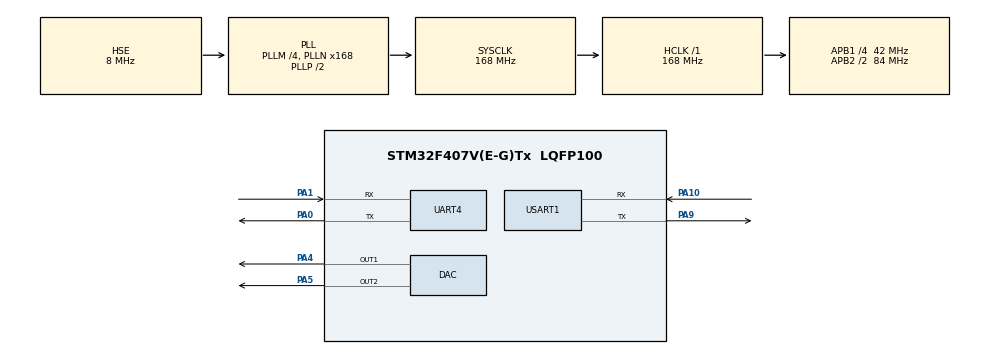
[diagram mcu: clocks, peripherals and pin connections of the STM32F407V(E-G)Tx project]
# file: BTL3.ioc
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DAC.DAC_Trigger=DAC_TRIGGER_T2_TRGO
DAC.DAC_Trigger2=DAC_TRIGGER_T5_TRGO
Dma.DAC1.0.Direction=DMA_MEMORY_TO_PERIPH
Dma.DAC1.0.FIFOMode=DMA_FIFOMODE_DISABLE
Dma.DAC1.0.Instance=DMA1_Stream5
Dma.DAC1.0.MemDataAlignment=DMA_MDATAALIGN_WORD
Dma.DAC1.0.MemInc=DMA_MINC_ENABLE
Dma.DAC1.0.Mode=DMA_CIRCULAR
Dma.DAC1.0.PeriphDataAlignment=DMA_PDATAALIGN_WORD
Dma.DAC1.0.PeriphInc=DMA_PINC_DISABLE
Dma.DAC1.0.Priority=DMA_PRIORITY_LOW
Dma.DAC2.1.Direction=DMA_MEMORY_TO_PERIPH
Dma.DAC2.1.FIFOMode=DMA_FIFOMODE_DISABLE
Dma.DAC2.1.Instance=DMA1_Stream6
Dma.DAC2.1.MemDataAlignment=DMA_MDATAALIGN_WORD
Dma.DAC2.1.MemInc=DMA_MINC_ENABLE
Dma.DAC2.1.Mode=DMA_CIRCULAR
Dma.DAC2.1.PeriphDataAlignment=DMA_PDATAALIGN_WORD
Dma.DAC2.1.PeriphInc=DMA_PINC_DISABLE
Dma.DAC2.1.Priority=DMA_PRIORITY_LOW
Dma.Request0=DAC1
Dma.Request1=DAC2
Dma.Request2=UART4_RX
Dma.Request3=USART1_RX
Dma.UART4_RX.2.Direction=DMA_PERIPH_TO_MEMORY
Dma.UART4_RX.2.FIFOMode=DMA_FIFOMODE_DISABLE
Dma.UART4_RX.2.Instance=DMA1_Stream2
Dma.UART4_RX.2.MemDataAlignment=DMA_MDATAALIGN_BYTE
Dma.UART4_RX.2.MemInc=DMA_MINC_ENABLE
Dma.UART4_RX.2.Mode=DMA_NORMAL
Dma.UART4_RX.2.PeriphDataAlignment=DMA_PDATAALIGN_BYTE
Dma.UART4_RX.2.PeriphInc=DMA_PINC_DISABLE
Dma.UART4_RX.2.Priority=DMA_PRIORITY_HIGH
Dma.USART1_RX.3.Direction=DMA_PERIPH_TO_MEMORY
Dma.USART1_RX.3.FIFOMode=DMA_FIFOMODE_DISABLE
Dma.USART1_RX.3.Instance=DMA2_Stream2
Dma.USART1_RX.3.MemDataAlignment=DMA_MDATAALIGN_BYTE
Dma.USART1_RX.3.MemInc=DMA_MINC_ENABLE
Dma.USART1_RX.3.Mode=DMA_NORMAL
Dma.USART1_RX.3.PeriphDataAlignment=DMA_PDATAALIGN_BYTE
Dma.USART1_RX.3.PeriphInc=DMA_PINC_DISABLE
Dma.USART1_RX.3.Priority=DMA_PRIORITY_LOW
Mcu.Family=STM32F4
Mcu.Name=STM32F407V(E-G)Tx
Mcu.Package=LQFP100
NVIC.DMA1_Stream2_IRQn=true\:0\:0\:false\:false\:true\:false\:true\:true
NVIC.DMA1_Stream5_IRQn=true\:0\:0\:false\:false\:true\:false\:true\:true
NVIC.DMA1_Stream6_IRQn=true\:0\:0\:false\:false\:true\:false\:true\:true
NVIC.DMA2_Stream2_IRQn=true\:0\:0\:false\:false\:true\:false\:true\:true
NVIC.PriorityGroup=NVIC_PRIORITYGROUP_4
NVIC.TIM2_IRQn=true\:0\:0\:false\:false\:true\:true\:true\:true
NVIC.TIM5_IRQn=true\:0\:0\:false\:false\:true\:true\:true\:true
NVIC.UART4_IRQn=true\:0\:0\:false\:false\:true\:true\:true\:true
NVIC.USART1_IRQn=true\:0\:0\:false\:false\:true\:true\:true\:true
PA0-WKUP.Mode=Asynchronous
PA0-WKUP.Signal=UART4_TX
PA1.Mode=Asynchronous
PA1.Signal=UART4_RX
PA10.Mode=Asynchronous
PA10.Signal=USART1_RX
PA13.Mode=Serial_Wire
PA13.Signal=SYS_JTMS-SWDIO
PA14.Mode=Serial_Wire
PA14.Signal=SYS_JTCK-SWCLK
PA4.Signal=COMP_DAC1_group
PA5.Signal=COMP_DAC2_group
PA9.Mode=Asynchronous
PA9.Signal=USART1_TX
PH0-OSC_IN.Mode=HSE-External-Oscillator
PH0-OSC_IN.Signal=RCC_OSC_IN
PH1-OSC_OUT.Mode=HSE-External-Oscillator
PH1-OSC_OUT.Signal=RCC_OSC_OUT
ProjectManager.HeapSize=0x200
ProjectManager.StackSize=0x400
ProjectManager.TargetToolchain=MDK-ARM V5.32
RCC.48MHZClocksFreq_Value=84000000
RCC.AHBFreq_Value=168000000
RCC.APB1CLKDivider=RCC_HCLK_DIV4
RCC.APB1Freq_Value=42000000
RCC.APB1TimFreq_Value=84000000
RCC.APB2CLKDivider=RCC_HCLK_DIV2
RCC.APB2Freq_Value=84000000
RCC.APB2TimFreq_Value=168000000
RCC.CortexFreq_Value=168000000
RCC.HCLKFreq_Value=168000000
RCC.HSE_VALUE=8000000
RCC.HSI_VALUE=16000000
RCC.LSE_VALUE=32768
RCC.PLLM=4
RCC.PLLN=168
RCC.PLLSourceVirtual=RCC_PLLSOURCE_HSE
RCC.SYSCLKFreq_VALUE=168000000
RCC.SYSCLKSource=RCC_SYSCLKSOURCE_PLLCLK
RCC.VCOOutputFreq_Value=336000000
SH.COMP_DAC1_group.0=DAC_OUT1,DAC_OUT1
SH.COMP_DAC2_group.0=DAC_OUT2,DAC_OUT2
TIM2.Period=1000000-1
TIM2.Prescaler=83
TIM2.TIM_MasterOutputTrigger=TIM_TRGO_UPDATE
TIM5.Period=10000-1
TIM5.Prescaler=83
TIM5.TIM_MasterOutputTrigger=TIM_TRGO_UPDATE
UART4.VirtualMode=Asynchronous
USART1.VirtualMode=VM_ASYNC
VP_TIM2_VS_ClockSourceINT.Mode=Internal
VP_TIM5_VS_ClockSourceINT.Mode=Internal
board=custom

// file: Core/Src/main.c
/* USER CODE BEGIN Header */
/**
  ******************************************************************************
  * @file           : main.c
  * @brief          : Main program body
  ******************************************************************************
  * @attention
  *
  * <h2><center>&copy; Copyright (c) 2023 STMicroelectronics.
  * All rights reserved.</center></h2>
  *
  * This software component is licensed by ST under BSD 3-Clause license,
  * the "License"; You may not use this file except in compliance with the
  * License. You may obtain a copy of the License at:
  *                        opensource.org/licenses/BSD-3-Clause
  *
  ******************************************************************************
  */
/* USER CODE END Header */
#include "main.h"

/* USER CODE BEGIN Includes */
#include "math.h"
#include <string.h>
#include <stdio.h>
#include <stdlib.h>
#define PI  3.14159
/* USER CODE END Includes */

DAC_HandleTypeDef hdac;
DMA_HandleTypeDef hdma_dac1;
DMA_HandleTypeDef hdma_dac2;

TIM_HandleTypeDef htim2;
TIM_HandleTypeDef htim5;

UART_HandleTypeDef huart4;
UART_HandleTypeDef huart1;
DMA_HandleTypeDef hdma_uart4_rx;
DMA_HandleTypeDef hdma_usart1_rx;

void SystemClock_Config(void);
static void MX_GPIO_Init(void);
static void MX_DMA_Init(void);
static void MX_DAC_Init(void);
static void MX_TIM2_Init(void);
static void MX_TIM5_Init(void);
static void MX_UART4_Init(void);
static void MX_USART1_UART_Init(void);

/* USER CODE BEGIN 0 */
#define RX_BUFFER_SIZE 60
uint8_t rx_buffer[RX_BUFFER_SIZE];
char rx_data[RX_BUFFER_SIZE];
uint32_t sine_val[100];
uint32_t square_val[100];
uint32_t triangular_val[100];
float a1 = 0, f1 = 0, a2 = 0, f2 = 0;
int alo = 0;

void string_cut(char *input, char *key, float *value)
{
    char *ptr = strstr(input,key);
    if(ptr != NULL)
    {
        ptr += strlen(key);
        *value = atof(ptr);
    }
}

			/*--------------------------------------------------------------------------*/
void Sine(float A, float f)
{
	//f_pulse = f_timTRIGO/ns (ns la so mau)   khi ARR = 0 thi f_pulse = 10k
	__HAL_TIM_SET_AUTORELOAD(&htim2, (10000/f)-1);
	for(int i = 0; i < 100; i++)
	{
		sine_val[i] = ((sin(i*2*PI/100) + 1)*(float)(4095*A/3));
	}
}

			/*--------------------------------------------------------------------------*/
void Square(float A, float f)
{
	__HAL_TIM_SET_AUTORELOAD(&htim2, (10000/f)-1);

	for(int i = 0; i < 100; i++)
	{
		square_val[i] = (i<50) ? 0: 2.0*A*4095/3;
	}
}
			/*--------------------------------------------------------------------------*/

void triangular(float A, float f)
{
	__HAL_TIM_SET_AUTORELOAD(&htim2, (10000/f)-1);

	for(int i = 0; i < 100; i++)
	{
		if(i<50)
			triangular_val[i] = 4095*2*A/3*i/49;
		else
			triangular_val[i] = 4095*2*A/3 - (i-49)*4095*2*A/3/50;
	}
}
			/*--------------------------------------------------------------------------*/
void HAL_UART_RxHalfCpltCallback(UART_HandleTypeDef *huart) //ham nay duoc goi khi da nhan xong du lieu
{
	alo++;
	memset(rx_data,0,sizeof(rx_data));
  for (int i = 0;i<sizeof(rx_buffer);i++)
	{
		rx_data[i] = rx_buffer[i];
	}
		string_cut(rx_data,"a1=",&a1);
	  string_cut(rx_data,"f1=",&f1);
	  string_cut(rx_data,"a2=",&a2);
	  string_cut(rx_data,"f2=",&f2);
	memset(rx_buffer,0,sizeof(rx_buffer));
	HAL_UART_Receive_DMA(&huart4, &rx_buffer[0], RX_BUFFER_SIZE);

	HAL_TIM_Base_Start(&htim2);
	Square(a1, f1);
	HAL_DAC_Start_DMA(&hdac, DAC_CHANNEL_1, square_val, 100, DAC_ALIGN_12B_R);
}

/* USER CODE END 0 */

int main(void)
{

  /* MCU Configuration--------------------------------------------------------*/

  /* Reset of all peripherals, Initializes the Flash interface and the Systick. */
  HAL_Init();

  /* Configure the system clock */
  SystemClock_Config();

  /* Initialize all configured peripherals */
  MX_GPIO_Init();
  MX_DMA_Init();
  MX_DAC_Init();
  MX_TIM2_Init();
  MX_TIM5_Init();
  MX_UART4_Init();
  MX_USART1_UART_Init();
  /* USER CODE BEGIN 2 */
	HAL_UART_Receive_DMA(&huart4, rx_buffer, RX_BUFFER_SIZE);
	//HAL_TIM_Base_Start(&htim2);
	//Sine(A);
	//HAL_DAC_Start_DMA(&hdac, DAC_CHANNEL_1, sine_val, 100, DAC_ALIGN_12B_R);

	HAL_DAC_Start(&hdac, DAC_CHANNEL_1);
	HAL_DAC_Start(&hdac, DAC_CHANNEL_2);

	//HAL_DAC_SetValue(&hdac, DAC_CHANNEL_1, DAC_ALIGN_12B_R, 4095);
  /* USER CODE END 2 */

  /* Infinite loop */
  while (1)
  {

  }
}

void SystemClock_Config(void)
{
  RCC_OscInitTypeDef RCC_OscInitStruct = {0};
  RCC_ClkInitTypeDef RCC_ClkInitStruct = {0};

  /** Configure the main internal regulator output voltage
  */
  __HAL_RCC_PWR_CLK_ENABLE();
  __HAL_PWR_VOLTAGESCALING_CONFIG(PWR_REGULATOR_VOLTAGE_SCALE1);

  /** Initializes the RCC Oscillators according to the specified parameters
  * in the RCC_OscInitTypeDef structure.
  */
  RCC_OscInitStruct.OscillatorType = RCC_OSCILLATORTYPE_HSE;
  RCC_OscInitStruct.HSEState = RCC_HSE_ON;
  RCC_OscInitStruct.PLL.PLLState = RCC_PLL_ON;
  RCC_OscInitStruct.PLL.PLLSource = RCC_PLLSOURCE_HSE;
  RCC_OscInitStruct.PLL.PLLM = 4;
  RCC_OscInitStruct.PLL.PLLN = 168;
  RCC_OscInitStruct.PLL.PLLP = RCC_PLLP_DIV2;
  RCC_OscInitStruct.PLL.PLLQ = 4;
  if (HAL_RCC_OscConfig(&RCC_OscInitStruct) != HAL_OK)
  {
    Error_Handler();
  }

  /** Initializes the CPU, AHB and APB buses clocks
  */
  RCC_ClkInitStruct.ClockType = RCC_CLOCKTYPE_HCLK|RCC_CLOCKTYPE_SYSCLK
                              |RCC_CLOCKTYPE_PCLK1|RCC_CLOCKTYPE_PCLK2;
  RCC_ClkInitStruct.SYSCLKSource = RCC_SYSCLKSOURCE_PLLCLK;
  RCC_ClkInitStruct.AHBCLKDivider = RCC_SYSCLK_DIV1;
  RCC_ClkInitStruct.APB1CLKDivider = RCC_HCLK_DIV4;
  RCC_ClkInitStruct.APB2CLKDivider = RCC_HCLK_DIV2;

  if (HAL_RCC_ClockConfig(&RCC_ClkInitStruct, FLASH_LATENCY_5) != HAL_OK)
  {
    Error_Handler();
  }
}

static void MX_DAC_Init(void)
{

  DAC_ChannelConfTypeDef sConfig = {0};

  /** DAC Initialization
  */
  hdac.Instance = DAC;
  if (HAL_DAC_Init(&hdac) != HAL_OK)
  {
    Error_Handler();
  }

  /** DAC channel OUT1 config
  */
  sConfig.DAC_Trigger = DAC_TRIGGER_T2_TRGO;
  sConfig.DAC_OutputBuffer = DAC_OUTPUTBUFFER_ENABLE;
  if (HAL_DAC_ConfigChannel(&hdac, &sConfig, DAC_CHANNEL_1) != HAL_OK)
  {
    Error_Handler();
  }

  /** DAC channel OUT2 config
  */
  sConfig.DAC_Trigger = DAC_TRIGGER_T5_TRGO;
  if (HAL_DAC_ConfigChannel(&hdac, &sConfig, DAC_CHANNEL_2) != HAL_OK)
  {
    Error_Handler();
  }

}

static void MX_TIM2_Init(void)
{

  TIM_ClockConfigTypeDef sClockSourceConfig = {0};
  TIM_MasterConfigTypeDef sMasterConfig = {0};

  htim2.Instance = TIM2;
  htim2.Init.Prescaler = 83;
  htim2.Init.CounterMode = TIM_COUNTERMODE_UP;
  htim2.Init.Period = 1000000-1;
  htim2.Init.ClockDivision = TIM_CLOCKDIVISION_DIV1;
  htim2.Init.AutoReloadPreload = TIM_AUTORELOAD_PRELOAD_DISABLE;
  if (HAL_TIM_Base_Init(&htim2) != HAL_OK)
  {
    Error_Handler();
  }
  sClockSourceConfig.ClockSource = TIM_CLOCKSOURCE_INTERNAL;
  if (HAL_TIM_ConfigClockSource(&htim2, &sClockSourceConfig) != HAL_OK)
  {
    Error_Handler();
  }
  sMasterConfig.MasterOutputTrigger = TIM_TRGO_UPDATE;
  sMasterConfig.MasterSlaveMode = TIM_MASTERSLAVEMODE_DISABLE;
  if (HAL_TIMEx_MasterConfigSynchronization(&htim2, &sMasterConfig) != HAL_OK)
  {
    Error_Handler();
  }

}

static void MX_TIM5_Init(void)
{

  TIM_ClockConfigTypeDef sClockSourceConfig = {0};
  TIM_MasterConfigTypeDef sMasterConfig = {0};

  htim5.Instance = TIM5;
  htim5.Init.Prescaler = 83;
  htim5.Init.CounterMode = TIM_COUNTERMODE_UP;
  htim5.Init.Period = 10000-1;
  htim5.Init.ClockDivision = TIM_CLOCKDIVISION_DIV1;
  htim5.Init.AutoReloadPreload = TIM_AUTORELOAD_PRELOAD_DISABLE;
  if (HAL_TIM_Base_Init(&htim5) != HAL_OK)
  {
    Error_Handler();
  }
  sClockSourceConfig.ClockSource = TIM_CLOCKSOURCE_INTERNAL;
  if (HAL_TIM_ConfigClockSource(&htim5, &sClockSourceConfig) != HAL_OK)
  {
    Error_Handler();
  }
  sMasterConfig.MasterOutputTrigger = TIM_TRGO_UPDATE;
  sMasterConfig.MasterSlaveMode = TIM_MASTERSLAVEMODE_DISABLE;
  if (HAL_TIMEx_MasterConfigSynchronization(&htim5, &sMasterConfig) != HAL_OK)
  {
    Error_Handler();
  }

}

static void MX_UART4_Init(void)
{

  huart4.Instance = UART4;
  huart4.Init.BaudRate = 115200;
  huart4.Init.WordLength = UART_WORDLENGTH_8B;
  huart4.Init.StopBits = UART_STOPBITS_1;
  huart4.Init.Parity = UART_PARITY_NONE;
  huart4.Init.Mode = UART_MODE_TX_RX;
  huart4.Init.HwFlowCtl = UART_HWCONTROL_NONE;
  huart4.Init.OverSampling = UART_OVERSAMPLING_16;
  if (HAL_UART_Init(&huart4) != HAL_OK)
  {
    Error_Handler();
  }

}

static void MX_USART1_UART_Init(void)
{

  huart1.Instance = USART1;
  huart1.Init.BaudRate = 115200;
  huart1.Init.WordLength = UART_WORDLENGTH_8B;
  huart1.Init.StopBits = UART_STOPBITS_1;
  huart1.Init.Parity = UART_PARITY_NONE;
  huart1.Init.Mode = UART_MODE_TX_RX;
  huart1.Init.HwFlowCtl = UART_HWCONTROL_NONE;
  huart1.Init.OverSampling = UART_OVERSAMPLING_16;
  if (HAL_UART_Init(&huart1) != HAL_OK)
  {
    Error_Handler();
  }

}

static void MX_DMA_Init(void)
{

  /* DMA controller clock enable */
  __HAL_RCC_DMA1_CLK_ENABLE();
  __HAL_RCC_DMA2_CLK_ENABLE();

  /* DMA interrupt init */
  /* DMA1_Stream2_IRQn interrupt configuration */
  HAL_NVIC_SetPriority(DMA1_Stream2_IRQn, 0, 0);
  HAL_NVIC_EnableIRQ(DMA1_Stream2_IRQn);
  /* DMA1_Stream5_IRQn interrupt configuration */
  HAL_NVIC_SetPriority(DMA1_Stream5_IRQn, 0, 0);
  HAL_NVIC_EnableIRQ(DMA1_Stream5_IRQn);
  /* DMA1_Stream6_IRQn interrupt configuration */
  HAL_NVIC_SetPriority(DMA1_Stream6_IRQn, 0, 0);
  HAL_NVIC_EnableIRQ(DMA1_Stream6_IRQn);
  /* DMA2_Stream2_IRQn interrupt configuration */
  HAL_NVIC_SetPriority(DMA2_Stream2_IRQn, 0, 0);
  HAL_NVIC_EnableIRQ(DMA2_Stream2_IRQn);

}

static void MX_GPIO_Init(void)
{

  /* GPIO Ports Clock Enable */
  __HAL_RCC_GPIOH_CLK_ENABLE();
  __HAL_RCC_GPIOA_CLK_ENABLE();

}

void Error_Handler(void)
{
  __disable_irq();
  while (1)
  {
  }
}
